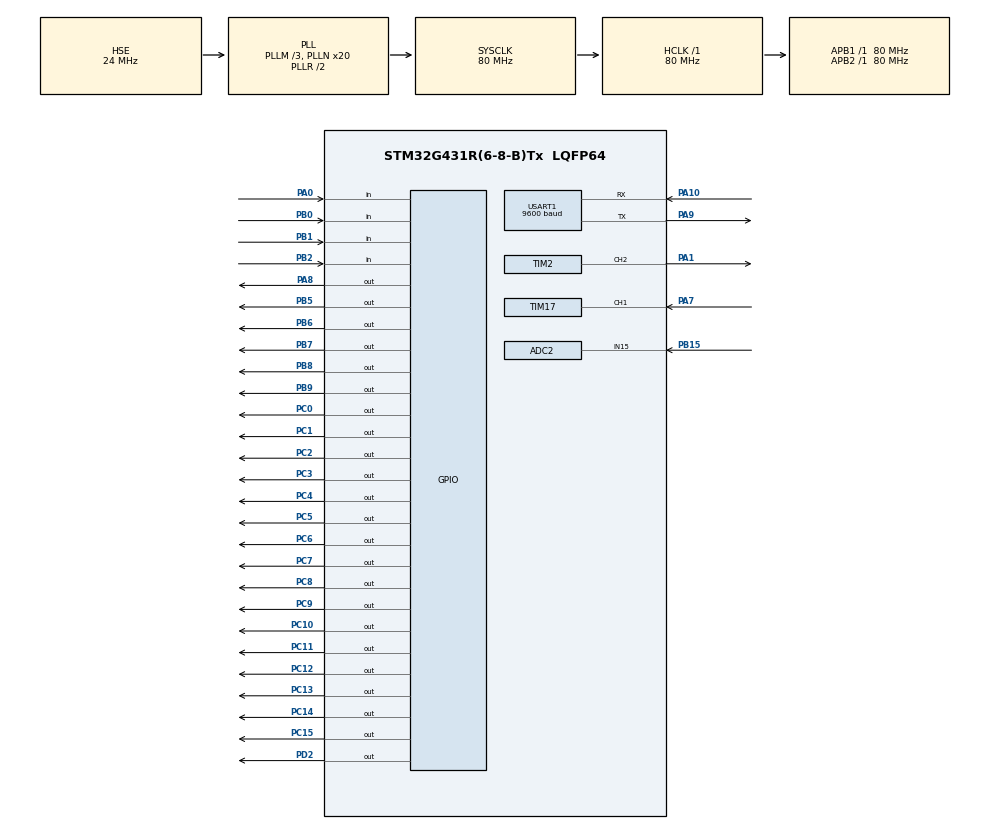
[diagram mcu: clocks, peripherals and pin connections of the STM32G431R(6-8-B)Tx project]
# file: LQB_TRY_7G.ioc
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ADC2.Channel-0\#ChannelRegularConversion=ADC_CHANNEL_15
ADC2.NbrOfConversionFlag=1
ADC2.OffsetNumber-0\#ChannelRegularConversion=ADC_OFFSET_NONE
ADC2.Rank-0\#ChannelRegularConversion=1
ADC2.SamplingTime-0\#ChannelRegularConversion=ADC_SAMPLETIME_2CYCLES_5
Dma.Request0=USART1_RX
Dma.Request1=USART1_TX
Dma.USART1_RX.0.Direction=DMA_PERIPH_TO_MEMORY
Dma.USART1_RX.0.EventEnable=DISABLE
Dma.USART1_RX.0.Instance=DMA1_Channel1
Dma.USART1_RX.0.MemDataAlignment=DMA_MDATAALIGN_BYTE
Dma.USART1_RX.0.MemInc=DMA_MINC_ENABLE
Dma.USART1_RX.0.Mode=DMA_NORMAL
Dma.USART1_RX.0.PeriphDataAlignment=DMA_PDATAALIGN_BYTE
Dma.USART1_RX.0.PeriphInc=DMA_PINC_DISABLE
Dma.USART1_RX.0.Polarity=HAL_DMAMUX_REQ_GEN_RISING
Dma.USART1_RX.0.Priority=DMA_PRIORITY_LOW
Dma.USART1_RX.0.RequestNumber=1
Dma.USART1_RX.0.SignalID=NONE
Dma.USART1_RX.0.SyncEnable=DISABLE
Dma.USART1_RX.0.SyncPolarity=HAL_DMAMUX_SYNC_NO_EVENT
Dma.USART1_RX.0.SyncRequestNumber=1
Dma.USART1_RX.0.SyncSignalID=NONE
Dma.USART1_TX.1.Direction=DMA_MEMORY_TO_PERIPH
Dma.USART1_TX.1.EventEnable=DISABLE
Dma.USART1_TX.1.Instance=DMA1_Channel2
Dma.USART1_TX.1.MemDataAlignment=DMA_MDATAALIGN_BYTE
Dma.USART1_TX.1.MemInc=DMA_MINC_ENABLE
Dma.USART1_TX.1.Mode=DMA_NORMAL
Dma.USART1_TX.1.PeriphDataAlignment=DMA_PDATAALIGN_BYTE
Dma.USART1_TX.1.PeriphInc=DMA_PINC_DISABLE
Dma.USART1_TX.1.Polarity=HAL_DMAMUX_REQ_GEN_RISING
Dma.USART1_TX.1.Priority=DMA_PRIORITY_LOW
Dma.USART1_TX.1.RequestNumber=1
Dma.USART1_TX.1.SignalID=NONE
Dma.USART1_TX.1.SyncEnable=DISABLE
Dma.USART1_TX.1.SyncPolarity=HAL_DMAMUX_SYNC_NO_EVENT
Dma.USART1_TX.1.SyncRequestNumber=1
Dma.USART1_TX.1.SyncSignalID=NONE
Mcu.Family=STM32G4
Mcu.Name=STM32G431R(6-8-B)Tx
Mcu.Package=LQFP64
NVIC.DMA1_Channel1_IRQn=true\:0\:0\:false\:false\:true\:false\:true
NVIC.DMA1_Channel2_IRQn=true\:0\:0\:false\:false\:true\:false\:true
NVIC.PriorityGroup=NVIC_PRIORITYGROUP_4
NVIC.RTC_Alarm_IRQn=true\:0\:0\:false\:false\:true\:true\:true
NVIC.TIM1_TRG_COM_TIM17_IRQn=true\:0\:0\:false\:false\:true\:true\:true
NVIC.TIM6_DAC_IRQn=true\:0\:0\:false\:false\:true\:true\:true
NVIC.USART1_IRQn=true\:0\:0\:false\:false\:true\:true\:true
PA0.Signal=GPIO_Input
PA1.Signal=S_TIM2_CH2
PA10.Mode=Asynchronous
PA10.Signal=USART1_RX
PA13.Mode=Serial_Wire
PA13.Signal=SYS_JTMS-SWDIO
PA14.Mode=Serial_Wire
PA14.Signal=SYS_JTCK-SWCLK
PA7.Signal=S_TIM17_CH1
PA8.Signal=GPIO_Output
PA9.Mode=Asynchronous
PA9.Signal=USART1_TX
PB0.Signal=GPIO_Input
PB1.Signal=GPIO_Input
PB15.Mode=IN15-Single-Ended
PB15.Signal=ADC2_IN15
PB2.Signal=GPIO_Input
PB5.Signal=GPIO_Output
PB6.Signal=GPIO_Output
PB7.Signal=GPIO_Output
PB8-BOOT0.Signal=GPIO_Output
PB9.Signal=GPIO_Output
PC0.Signal=GPIO_Output
PC1.Signal=GPIO_Output
PC10.Signal=GPIO_Output
PC11.Signal=GPIO_Output
PC12.Signal=GPIO_Output
PC13.Signal=GPIO_Output
PC14-OSC32_IN.Signal=GPIO_Output
PC15-OSC32_OUT.Signal=GPIO_Output
PC2.Signal=GPIO_Output
PC3.Signal=GPIO_Output
PC4.Signal=GPIO_Output
PC5.Signal=GPIO_Output
PC6.Signal=GPIO_Output
PC7.Signal=GPIO_Output
PC8.Signal=GPIO_Output
PC9.Signal=GPIO_Output
PD2.Signal=GPIO_Output
PF0-OSC_IN.Mode=HSE-External-Oscillator
PF0-OSC_IN.Signal=RCC_OSC_IN
PF1-OSC_OUT.Mode=HSE-External-Oscillator
PF1-OSC_OUT.Signal=RCC_OSC_OUT
ProjectManager.HeapSize=0x200
ProjectManager.StackSize=0x400
ProjectManager.TargetToolchain=MDK-ARM V5
RCC.ADC12Freq_Value=80000000
RCC.AHBFreq_Value=80000000
RCC.APB1Freq_Value=80000000
RCC.APB1TimFreq_Value=80000000
RCC.APB2Freq_Value=80000000
RCC.APB2TimFreq_Value=80000000
RCC.CortexFreq_Value=80000000
RCC.EXTERNAL_CLOCK_VALUE=12288000
RCC.HCLKFreq_Value=80000000
RCC.HSE_VALUE=24000000
RCC.HSI48_VALUE=48000000
RCC.HSI_VALUE=16000000
RCC.LSE_VALUE=32768
RCC.PLLM=RCC_PLLM_DIV3
RCC.PLLN=20
RCC.PLLSourceVirtual=RCC_PLLSOURCE_HSE
RCC.RTCClockSelection=RCC_RTCCLKSOURCE_HSE_DIV32
RCC.SYSCLKFreq_VALUE=80000000
RCC.SYSCLKSource=RCC_SYSCLKSOURCE_PLLCLK
RCC.USBFreq_Value=80000000
RCC.VCOOutputFreq_Value=160000000
RTC.Alarm-Alarm\ A=RTC_ALARM_A
RTC.AlarmMaskDateWeekDay-Alarm\ A=RTC_ALARMMASK_DATEWEEKDAY
RTC.AlarmMaskHours-Alarm\ A=RTC_ALARMMASK_HOURS
RTC.AlarmMaskMinutes-Alarm\ A=RTC_ALARMMASK_MINUTES
RTC.AsynchPrediv=125-1
RTC.Date=12
RTC.Hours_A-Alarm\ A=13
RTC.Minutes_A-Alarm\ A=56
RTC.Month=RTC_MONTH_MAY
RTC.Seconds_A-Alarm\ A=53
RTC.SynchPrediv=6000-1
RTC.WeekDay=RTC_WEEKDAY_FRIDAY
RTC.Year=23
SH.S_TIM17_CH1.0=TIM17_CH1,Input_Capture1_from_TI1
SH.S_TIM2_CH2.0=TIM2_CH2,PWM Generation2 CH2
TIM17.Channel=TIM_CHANNEL_1
TIM17.Prescaler=79
TIM2.Channel-PWM\ Generation2\ CH2=TIM_CHANNEL_2
TIM2.PeriodNoDither=99
TIM2.Prescaler=799
TIM6.PeriodNoDither=999
TIM6.Prescaler=799
USART1.BaudRate=9600
USART1.VirtualMode-Asynchronous=VM_ASYNC
VP_RTC_VS_RTC_Activate.Mode=RTC_Enabled
VP_RTC_VS_RTC_Alarm_A_Intern.Mode=Alarm A
VP_RTC_VS_RTC_Calendar.Mode=RTC_Calendar
VP_SYS_VS_DBSignals.Mode=DisableDeadBatterySignals
VP_TIM17_VS_ClockSourceINT.Mode=Enable_Timer
VP_TIM2_VS_ClockSourceINT.Mode=Internal
VP_TIM6_VS_ClockSourceINT.Mode=Enable_Timer
board=custom

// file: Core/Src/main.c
/* USER CODE BEGIN Header */
/**
  ******************************************************************************
  * @file           : main.c
  * @brief          : Main program body
  ******************************************************************************
  * @attention
  *
  * <h2><center>&copy; Copyright (c) 2023 STMicroelectronics.
  * All rights reserved.</center></h2>
  *
  * This software component is licensed by ST under BSD 3-Clause license,
  * the "License"; You may not use this file except in compliance with the
  * License. You may obtain a copy of the License at:
  *                        opensource.org/licenses/BSD-3-Clause
  *
  ******************************************************************************
  */
/* USER CODE END Header */
#include "main.h"
#include "adc.h"
#include "dma.h"
#include "rtc.h"
#include "tim.h"
#include "usart.h"
#include "gpio.h"

/* USER CODE BEGIN Includes */
#include "string.h"
/* USER CODE END Includes */

/* USER CODE BEGIN PV */
bool page=0;
char text[30],data[60][20];
double T=0,H=0,T_U=40,H_U=80,TS=1,Test=1.5;
unsigned char line=0;
extern unsigned char p;
extern keys key[4];

extern double frq;

uint8_t rxdata[100];

extern RTC_AlarmTypeDef sAlarm;
RTC_TimeTypeDef GetTime;
RTC_DateTypeDef GetDate;
/* USER CODE END PV */

void SystemClock_Config(void);
/* USER CODE BEGIN PFP */
void KEY_Proc(void);
void LCD_Proc(void);

/* USER CODE END PFP */

int main(void)
{

  /* MCU Configuration--------------------------------------------------------*/

  /* Reset of all peripherals, Initializes the Flash interface and the Systick. */
  HAL_Init();

  /* Configure the system clock */
  SystemClock_Config();

  /* Initialize all configured peripherals */
  MX_GPIO_Init();
  MX_DMA_Init();
  MX_ADC2_Init();
  MX_RTC_Init();
  MX_TIM2_Init();
  MX_TIM6_Init();
  MX_TIM17_Init();
  MX_USART1_UART_Init();
  /* USER CODE BEGIN 2 */
	HAL_TIM_Base_Start_IT(&htim6);

	HAL_TIM_PWM_Start(&htim2,TIM_CHANNEL_2);
	__HAL_TIM_SetCompare(&htim2,TIM_CHANNEL_2,5);

	HAL_TIM_IC_Start_IT(&htim17,TIM_CHANNEL_1);

	HAL_ADCEx_Calibration_Start(&hadc2,ADC_SINGLE_ENDED);

	LCD_Init();
	LCD_Clear(White);
	LCD_SetBackColor(White);
	LCD_SetTextColor(Black);

	I2CInit();

	LED_Proc(1,0);

	HAL_RTC_GetTime(&hrtc,&GetTime,RTC_FORMAT_BIN);
	HAL_RTC_GetDate(&hrtc,&GetDate,RTC_FORMAT_BIN);
	sAlarm.AlarmTime.Seconds = GetTime.Seconds + 1;
	HAL_RTC_SetAlarm_IT(&hrtc,&sAlarm,RTC_FORMAT_BIN);

	HAL_UART_Receive_DMA(&huart1,rxdata,100);
	__HAL_UART_ENABLE_IT(&huart1,UART_IT_IDLE);

	T_U = eeprom_read(0);
	if(T_U > 60) T_U = 40;
	H_U = eeprom_read(1);
	if(H_U > 100) H_U = 80;
	TS = eeprom_read(2);
	if(TS > 5) TS = 1;
	Test = (double)(eeprom_read(3))/10;
	if(Test > 10.1) Test = 1.5;

	htim2.Init.Prescaler = (8000/Test)-1;
	HAL_TIM_Base_Init(&htim2);
  /* USER CODE END 2 */

  /* Infinite loop */
  /* USER CODE BEGIN WHILE */
  while (1)
  {
		KEY_Proc();
		LCD_Proc();
		if(H > H_U) LED_Proc(2,1);
		else LED_Proc(2,0);
		if(T >T_U) LED_Proc(1,1);
		else LED_Proc(1,0);
    /* USER CODE END WHILE */

  }
}

void SystemClock_Config(void)
{
  RCC_OscInitTypeDef RCC_OscInitStruct = {0};
  RCC_ClkInitTypeDef RCC_ClkInitStruct = {0};
  RCC_PeriphCLKInitTypeDef PeriphClkInit = {0};

  /** Configure the main internal regulator output voltage
  */
  HAL_PWREx_ControlVoltageScaling(PWR_REGULATOR_VOLTAGE_SCALE1);
  /** Initializes the RCC Oscillators according to the specified parameters
  * in the RCC_OscInitTypeDef structure.
  */
  RCC_OscInitStruct.OscillatorType = RCC_OSCILLATORTYPE_HSE;
  RCC_OscInitStruct.HSEState = RCC_HSE_ON;
  RCC_OscInitStruct.PLL.PLLState = RCC_PLL_ON;
  RCC_OscInitStruct.PLL.PLLSource = RCC_PLLSOURCE_HSE;
  RCC_OscInitStruct.PLL.PLLM = RCC_PLLM_DIV3;
  RCC_OscInitStruct.PLL.PLLN = 20;
  RCC_OscInitStruct.PLL.PLLP = RCC_PLLP_DIV2;
  RCC_OscInitStruct.PLL.PLLQ = RCC_PLLQ_DIV2;
  RCC_OscInitStruct.PLL.PLLR = RCC_PLLR_DIV2;
  if (HAL_RCC_OscConfig(&RCC_OscInitStruct) != HAL_OK)
  {
    Error_Handler();
  }
  /** Initializes the CPU, AHB and APB buses clocks
  */
  RCC_ClkInitStruct.ClockType = RCC_CLOCKTYPE_HCLK|RCC_CLOCKTYPE_SYSCLK
                              |RCC_CLOCKTYPE_PCLK1|RCC_CLOCKTYPE_PCLK2;
  RCC_ClkInitStruct.SYSCLKSource = RCC_SYSCLKSOURCE_PLLCLK;
  RCC_ClkInitStruct.AHBCLKDivider = RCC_SYSCLK_DIV1;
  RCC_ClkInitStruct.APB1CLKDivider = RCC_HCLK_DIV1;
  RCC_ClkInitStruct.APB2CLKDivider = RCC_HCLK_DIV1;

  if (HAL_RCC_ClockConfig(&RCC_ClkInitStruct, FLASH_LATENCY_2) != HAL_OK)
  {
    Error_Handler();
  }
  /** Initializes the peripherals clocks
  */
  PeriphClkInit.PeriphClockSelection = RCC_PERIPHCLK_RTC|RCC_PERIPHCLK_USART1
                              |RCC_PERIPHCLK_ADC12;
  PeriphClkInit.Usart1ClockSelection = RCC_USART1CLKSOURCE_PCLK2;
  PeriphClkInit.Adc12ClockSelection = RCC_ADC12CLKSOURCE_SYSCLK;
  PeriphClkInit.RTCClockSelection = RCC_RTCCLKSOURCE_HSE_DIV32;

  if (HAL_RCCEx_PeriphCLKConfig(&PeriphClkInit) != HAL_OK)
  {
    Error_Handler();
  }
}

/* USER CODE BEGIN 4 */
void KEY_Proc(void)
{
	if(key[0].single_sta == 1)
	{
		if(page == 1)
		{
			eeprom_write(0,(unsigned char)T_U);
			HAL_Delay(10);
			eeprom_write(1,(unsigned char)H_U);
			HAL_Delay(10);
			eeprom_write(2,(unsigned char)TS);
			HAL_Delay(10);
			eeprom_write(3,(unsigned char)(Test*10));
			sprintf(text,"    Time:%02d-%02d-%02d      ",GetTime.Hours,GetTime.Minutes,GetTime.Seconds);
			LCD_DisplayStringLine(Line5,(u8 *)text);
		}
		page = page == 1?0:1;
		key[0].single_sta = 0;
	}
	if(key[1].single_sta == 1)
	{
		if(page == 1) line = line==3?0:line+1;
		key[1].single_sta = 0;
	}
	if(key[2].single_sta == 1)
	{
		if(page == 1)
		{
			if(line == 0) T_U = T_U == 60?60:T_U+1;
			else if(line == 1) H_U = H_U >= 99?100:H_U+5;
			else if(line == 2) TS = TS == 5?5:TS+1;
			else if(line == 3)
			{
				Test = Test >= 9.9?10:Test+0.5;
				htim2.Init.Prescaler = (8000/Test)-1;
				HAL_TIM_Base_Init(&htim2);
			}
		}
		key[2].single_sta = 0;
	}
	if(key[3].single_sta == 1)
	{
		if(page == 1)
		{
			if(line == 0) T_U = T_U == -20?-20:T_U-1;
			else if(line == 1) H_U = H_U <= 1?0:H_U-5;
			else if(line == 2) TS = TS == 1?1:TS-1;
			else if(line == 3)
			{
				Test = Test == 1?1:Test-0.5;
				htim2.Init.Prescaler = (8000/Test)-1;
				HAL_TIM_Base_Init(&htim2);
			}
		}
		key[3].single_sta = 0;
	}
}

void LCD_Proc(void)
{
	if(page == 0)
	{
		LCD_DisplayStringLine(Line1,(u8 *)"        Data        ");
		sprintf(text,"    Tem:%02dC        ",(int)(T));
		LCD_DisplayStringLine(Line3,(u8 *)text);
		sprintf(text,"    Hmd:%02d%%        ",(int)(H+0.1));
		LCD_DisplayStringLine(Line4,(u8 *)text);
		sprintf(text,"          Times:%d        ",p);
		LCD_DisplayStringLine(Line6,(u8 *)text);
	}
	else if(page == 1)
	{
		LCD_DisplayStringLine(Line1,(u8 *)"      Setting        ");

		sprintf(text,"    Tem_U:%02dC        ",(int)T_U);
		if(line == 0) LCD_SetTextColor(Green);
		LCD_DisplayStringLine(Line3,(u8 *)text);
		LCD_SetTextColor(Black);

		sprintf(text,"    Hmd_U:%02d%%      ",(int)H_U);
		if(line == 1) LCD_SetTextColor(Green);
		LCD_DisplayStringLine(Line4,(u8 *)text);
		LCD_SetTextColor(Black);

		sprintf(text,"    TS:%01dS        ",(int)TS);
		if(line == 2) LCD_SetTextColor(Green);
		LCD_DisplayStringLine(Line5,(u8 *)text);
		LCD_SetTextColor(Black);

		sprintf(text,"    Test_s:%.1fHZ        ",Test);
		if(line == 3) LCD_SetTextColor(Green);
		LCD_DisplayStringLine(Line6,(u8 *)text);
		LCD_SetTextColor(Black);
	}
	else page = 0;
}

double GetADC(void)
{
	double adc;
	HAL_ADC_Start(&hadc2);
	adc = HAL_ADC_GetValue(&hadc2);
	return adc/4095*3.3;
}

void LED_Proc(unsigned char led,unsigned char sta)
{
	static unsigned char LED_STA = 0xff;
	if(sta == 0) LED_STA |= (0x01 << (led - 1));
	else LED_STA &= ~(0x01 << (led - 1));
	GPIOC->ODR = LED_STA << 8;
	HAL_GPIO_WritePin(GPIOD,GPIO_PIN_2,GPIO_PIN_SET);
	HAL_GPIO_WritePin(GPIOD,GPIO_PIN_2,GPIO_PIN_RESET);
}

//void HAL_UART_RxCpltCallback(UART_HandleTypeDef *huart)
//{
//	if(rxdata == 'C')
//	{
//		sprintf(tem,"T_U=%d\r\nH_U=%d\r\n%02d-%02d-%02d\r\n",(int)T_U,(int)H_U,GetTime.Hours,GetTime.Minutes,GetTime.Seconds);
//		HAL_UART_Transmit(huart,(u8 *)tem,strlen(tem),50);
//	}
//	else if(rxdata == 'T')
//	{
//			HAL_UART_Transmit(huart,(u8 *)data[1],strlen(data[1]),50);
//	}
//	HAL_UART_Receive_IT(huart,&rxdata,1);
//}
/* USER CODE END 4 */

void Error_Handler(void)
{
  __disable_irq();
  while (1)
  {
  }
}

/************************ (C) COPYRIGHT STMicroelectronics *****END OF FILE****/
